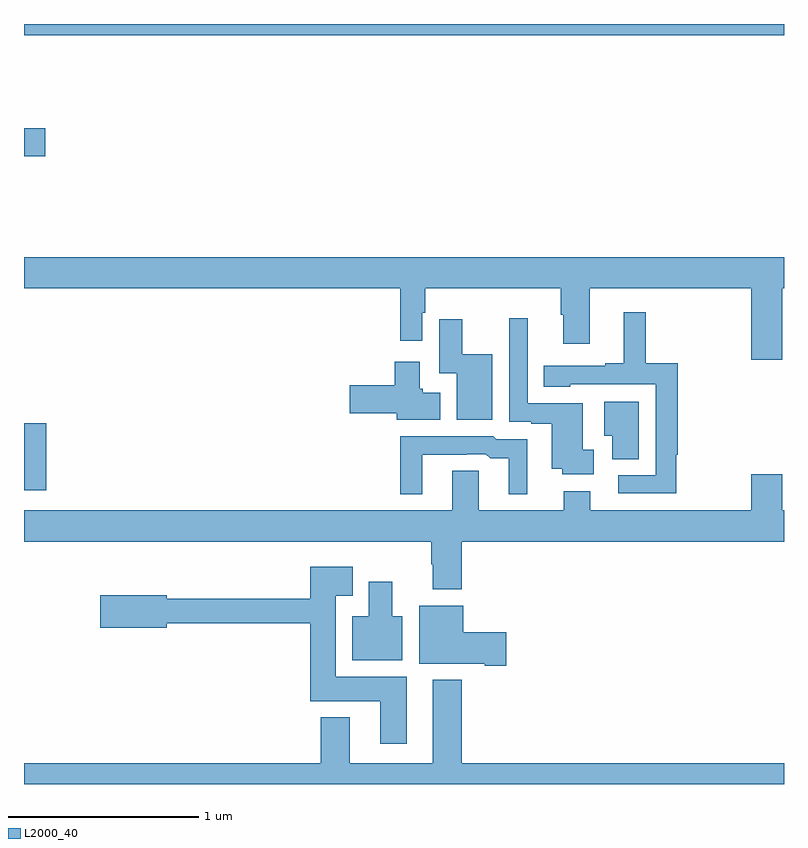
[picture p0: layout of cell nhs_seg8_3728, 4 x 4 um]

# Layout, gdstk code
import gdstk
lib = gdstk.Library(unit=1e-6, precision=1e-09)
def R(c, l, rs):  # rectangles x0, y0, x1, y1
    for r in rs: c.add(gdstk.rectangle(r[:2], r[2:], *l))
def P(c, l, *ps):  # polygons
    for p in ps: c.add(gdstk.Polygon(p, *l))
L2000_40 = (2000, 40)

nhs_seg8_3728 = lib.new_cell('nhs_seg8_3728')
R(nhs_seg8_3728, L2000_40, [(341,1107.447,341.117,1107.799), (341,1109.204,341.113,1109.351), (341,1109.84,345,1109.9)])
P(nhs_seg8_3728, L2000_40, [(344.992,1108.508),(345,1108.508),(345,1108.672),(341,1108.672),(341,1108.508),(342.979,1108.508),(342.979,1108.233),(343.095,1108.233),(343.095,1108.379),(343.111,1108.379),(343.111,1108.508),(343.826,1108.508),(343.826,1108.371),(343.838,1108.371),(343.838,1108.218),(343.978,1108.218),(343.978,1108.508),(344.828,1108.508),(344.828,1108.134),(344.992,1108.134)],
  [(344.434,1107.632),(344.441,1107.632),(344.441,1108.114),(344.273,1108.114),(344.273,1108.384),(344.156,1108.384),(344.156,1108.114),(344.06,1108.114),(344.06,1108.101),(343.735,1108.101),(343.735,1107.992),(343.875,1107.992),(343.875,1108.005),(344.325,1108.005),(344.325,1107.525),(344.127,1107.525),(344.127,1107.429),(344.434,1107.429)],
  [(343.999,1107.66),(343.942,1107.66),(343.942,1107.903),(343.65,1107.903),(343.65,1108.351),(343.554,1108.351),(343.554,1107.807),(343.67,1107.807),(343.67,1107.795),(343.778,1107.795),(343.778,1107.56),(343.832,1107.56),(343.832,1107.53),(343.999,1107.53)],
  [(343.465,1108.162),(343.306,1108.162),(343.306,1108.345),(343.185,1108.345),(343.185,1108.061),(343.277,1108.061),(343.277,1107.818),(343.465,1107.818)],
  [(343.192,1107.958),(343.098,1107.958),(343.098,1107.981),(343.084,1107.981),(343.084,1108.123),(342.95,1108.123),(342.95,1107.998),(342.714,1107.998),(342.714,1107.851),(342.962,1107.851),(342.962,1107.818),(343.192,1107.818)],
  [(344.236,1107.913),(344.054,1107.913),(344.054,1107.734),(344.096,1107.734),(344.096,1107.61),(344.236,1107.61)],
  [(343.096,1107.633),(343.331,1107.633),(343.331,1107.636),(343.431,1107.636),(343.454,1107.614),(343.55,1107.614),(343.55,1107.425),(343.648,1107.425),(343.648,1107.714),(343.485,1107.714),(343.47,1107.729),(342.979,1107.729),(342.979,1107.425),(343.096,1107.425)],
  [(341,1107.176),(343.144,1107.176),(343.144,1107.056),(343.151,1107.056),(343.151,1106.924),(343.304,1106.924),(343.304,1107.176),(345,1107.176),(345,1107.34),(344.992,1107.34),(344.992,1107.529),(344.828,1107.529),(344.828,1107.34),(343.981,1107.34),(343.981,1107.442),(343.841,1107.442),(343.841,1107.34),(343.393,1107.34),(343.393,1107.548),(343.253,1107.548),(343.253,1107.34),(341,1107.34)],
  [(343.015,1106.464),(342.64,1106.464),(342.64,1106.891),(342.73,1106.891),(342.73,1107.043),(342.506,1107.043),(342.506,1106.875),(341.752,1106.875),(341.752,1106.893),(341.4,1106.893),(341.4,1106.723),(341.752,1106.723),(341.752,1106.746),(342.506,1106.746),(342.506,1106.336),(342.875,1106.336),(342.875,1106.112),(343.015,1106.112)],
  [(342.991,1106.782),(342.937,1106.782),(342.937,1106.965),(342.815,1106.965),(342.815,1106.782),(342.728,1106.782),(342.728,1106.552),(342.991,1106.552)],
  [(343.537,1106.7),(343.312,1106.7),(343.312,1106.839),(343.079,1106.839),(343.079,1106.534),(343.424,1106.534),(343.424,1106.522),(343.537,1106.522)],
  [(345,1106.008),(343.304,1106.008),(343.304,1106.449),(343.151,1106.449),(343.151,1106.008),(342.715,1106.008),(342.715,1106.251),(342.563,1106.251),(342.563,1106.008),(341,1106.008),(341,1105.9),(345,1105.9)])

lib.write_gds('nhs_seg8_3728.gds')
